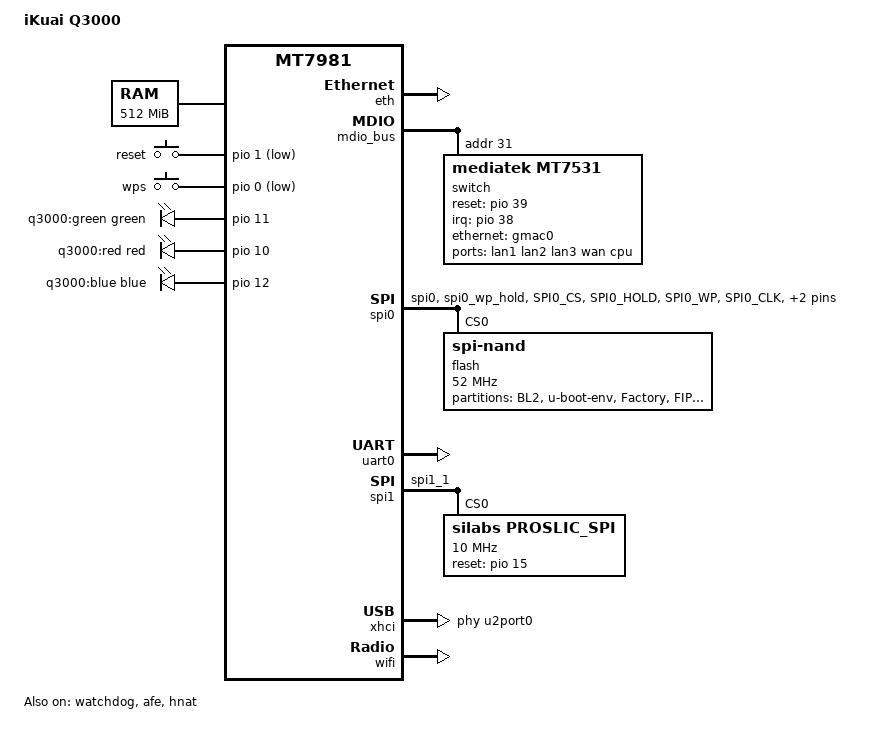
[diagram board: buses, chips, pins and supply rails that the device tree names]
// SPDX-License-Identifier: GPL-2.0-or-later OR MIT

/dts-v1/;
#include <dt-bindings/gpio/gpio.h>
#include <dt-bindings/input/input.h>
#include <dt-bindings/leds/common.h>

#include "mt7981.dtsi"

/ {
	model = "iKuai Q3000";
	compatible = "ikuai,q3000", "mediatek,mt7981";

	aliases {
		serial0 = &uart0;
		label-mac-device = &gmac0;
		led-boot = &led_status_blue;
		led-failsafe = &led_status_red;
		led-running = &led_status_green;
		led-upgrade = &led_status_blue;
	};

	chosen {
		stdout-path = "serial0:115200n8";
		bootargs = "console=ttyS0,115200n1 loglevel=8 earlycon=uart8250,mmio32,0x11002000 clk_ignore_unused";
	};

	memory {
		reg = <0 0x40000000 0 0x20000000>;
	};

	gpio-keys {
		compatible = "gpio-keys";

		button-reset {
			label = "reset";
			linux,code = <KEY_RESTART>;
			gpios = <&pio 1 GPIO_ACTIVE_LOW>;
		};

		button-wps {
			label = "wps";
			linux,code = <KEY_WPS_BUTTON>;
			gpios = <&pio 0 GPIO_ACTIVE_LOW>;
		};
	};

	leds {
		compatible = "gpio-leds";

		led_status_green: green {
			function = LED_FUNCTION_STATUS;
			color = <LED_COLOR_ID_GREEN>;
			label = "q3000:green";
			gpios = <&pio 11 GPIO_ACTIVE_HIGH>;
		};

		led_status_red: red {
			function = LED_FUNCTION_STATUS;
			color = <LED_COLOR_ID_RED>;
			label = "q3000:red";
			gpios = <&pio 10 GPIO_ACTIVE_HIGH>;
		};

		led_status_blue: blue {
			function = LED_FUNCTION_STATUS;
			color = <LED_COLOR_ID_BLUE>;
			label = "q3000:blue";
			gpios = <&pio 12 GPIO_ACTIVE_HIGH>;
		};

		sound_wm8960 {
			compatible = "mediatek,mt79xx-wm8960-machine";
			mediatek,platform = <&afe>;
			audio-routing = "Headphone", "HP_L",
					"Headphone", "HP_R",
					"LINPUT1", "AMIC",
					"RINPUT1", "AMIC";
			mediatek,audio-codec = <&wm8960>;
			status = "disabled";
		};

		sound_si3218x {
			compatible = "mediatek,mt79xx-si3218x-machine";
			mediatek,platform = <&afe>;
			mediatek,ext-codec = <&proslic_spi>;
			status = "disabled";
		};
	};
};

&eth {
	status = "okay";

	gmac0: mac@0 {
		compatible = "mediatek,eth-mac";
		reg = <0>;
		phy-mode = "2500base-x";

		fixed-link {
			speed = <2500>;
			full-duplex;
			pause;
		};
	};
};

&mdio_bus {
	switch: switch@1f {
		compatible = "mediatek,mt7531";
		reg = <31>;
		reset-gpios = <&pio 39 GPIO_ACTIVE_HIGH>;
		interrupt-controller;
		#interrupt-cells = <1>;
		interrupt-parent = <&pio>;
		interrupts = <38 IRQ_TYPE_LEVEL_HIGH>;
	};
};

&spi0 {
	pinctrl-names = "default";
	pinctrl-0 = <&spi0_flash_pins>;
	status = "okay";

	flash: flash@0 {
		compatible = "spi-nand";
		reg = <0>;
		#address-cells = <1>;
		#size-cells = <1>;
		spi-max-frequency = <52000000>;
		spi-tx-bus-width = <4>;
		spi-rx-bus-width = <4>;
		mediatek,nmbm;
		mediatek,bmt-max-ratio = <1>;
		mediatek,bmt-max-reserved-blocks = <64>;

		partitions {
			compatible = "fixed-partitions";
			#address-cells = <1>;
			#size-cells = <1>;

			partition@0 {
				label = "BL2";
				reg = <0x00000 0x0100000>;
				read-only;
			};

			partition@100000 {
				label = "u-boot-env";
				reg = <0x0100000 0x0080000>;
			};

			factory: partition@180000 {
				label = "Factory";
				reg = <0x180000 0x0200000>;
			};

			partition@380000 {
				label = "FIP";
				reg = <0x380000 0x0200000>;
			};

			partition@580000 {
				label = "ubi";
				reg = <0x580000 0x7000000>;
			};
		};
	};
};

&switch {
	ports {
		#address-cells = <1>;
		#size-cells = <0>;

		port@0 {
			reg = <0>;
			label = "lan1";
		};

		port@1 {
			reg = <1>;
			label = "lan2";
		};

		port@2 {
			reg = <2>;
			label = "lan3";
		};

		port@3 {
			reg = <3>;
			label = "wan";
		};

		port@6 {
			reg = <6>;
			label = "cpu";
			ethernet = <&gmac0>;
			phy-mode = "2500base-x";

			fixed-link {
				speed = <2500>;
				full-duplex;
				pause;
			};
		};
	};
};

&pio {
	i2c_pins: i2c-pins-g0 {
		mux {
			function = "i2c";
			groups = "i2c0_0";
		};
	};

	pcm_pins: pcm-pins-g0 {
		mux {
			function = "pcm";
			groups = "pcm";
		};
	};

	spi0_flash_pins: spi0-pins {
		mux {
			function = "spi";
			groups = "spi0", "spi0_wp_hold";
		};

		conf-pu {
			pins = "SPI0_CS", "SPI0_HOLD", "SPI0_WP";
			drive-strength = <8>;
			mediatek,pull-up-adv = <0>;
		};

		conf-pd {
			pins = "SPI0_CLK", "SPI0_MOSI", "SPI0_MISO";
			drive-strength = <8>;
			mediatek,pull-up-adv = <0>;
		};
	};

	spic_pins: spi1-pins {
		mux {
			function = "spi";
			groups = "spi1_1";
		};
	};
};

&uart0 {
	status = "okay";
};

&watchdog {
	status = "okay";
};

&afe {
	pinctrl-names = "default";
	pinctrl-0 = <&pcm_pins>;
	status = "okay";
};

&i2c0 {
	pinctrl-names = "default";
	pinctrl-0 = <&i2c_pins>;
	status = "disabled";

	wm8960: wm8960@1a {
		compatible = "wlf,wm8960";
		reg = <0x1a>;
	};
};

&spi1 {
	pinctrl-names = "default";
	pinctrl-0 = <&spic_pins>;
	status = "okay";

	proslic_spi: proslic_spi@0 {
		compatible = "silabs,proslic_spi";
		reg = <0>;
		spi-max-frequency = <10000000>;
		spi-cpha = <1>;
		spi-cpol = <1>;
		channel_count = <1>;
		debug_level = <4>;
		reset_gpio = <&pio 15 GPIO_ACTIVE_HIGH>;
		ig,enable-spi = <1>;
	};
};

&xhci {
	mediatek,u3p-dis-msk = <0x0>;
	phys = <&u2port0 PHY_TYPE_USB2>,
	       <&u3port0 PHY_TYPE_USB3>;
	status = "okay";
};

&wifi {
	mediatek,mtd-eeprom = <&factory 0x0>;
	status = "okay";
};

&hnat {
	mtketh-wan = "wan";
	mtketh-lan = "lan";
	mtketh-max-gmac = <2>;
	status = "okay";
};
